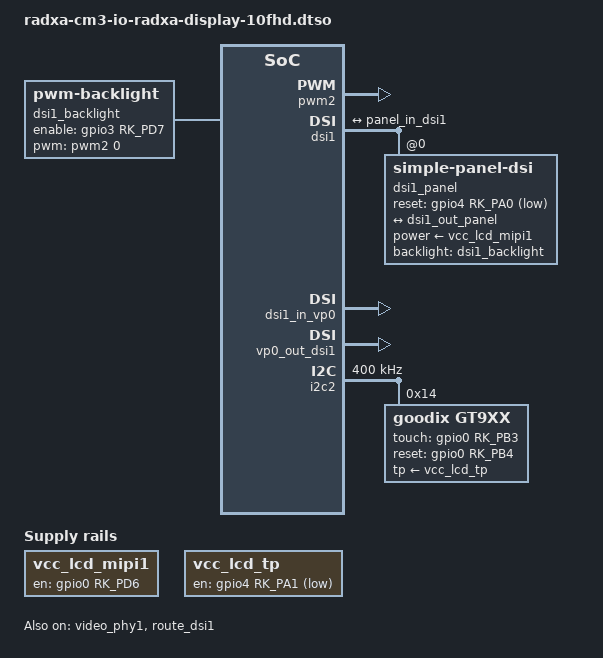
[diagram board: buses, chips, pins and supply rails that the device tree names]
/dts-v1/;
/plugin/;

#include <dt-bindings/gpio/gpio.h>
#include <dt-bindings/pinctrl/rockchip.h>
#include <dt-bindings/interrupt-controller/irq.h>
#include <dt-bindings/display/drm_mipi_dsi.h>
#include "dt-bindings/display/drm_mipi_dsi_overlay.h"
#include <dt-bindings/pwm/pwm.h>

/ {
	metadata {
		title = "Enable Radxa Display 10FHD";
		compatible = "radxa,cm3-io";
		category = "display";
		exclusive = "dsi1", "vp0", "video_phy1", "pwm2";
		description = "Enable Radxa Display 10FHD.";
	};
};

&{/} {
	vcc_lcd_mipi1: vcc-lcd-mipi1 {
		status = "okay";
		compatible = "regulator-fixed";
		regulator-name = "vcc_lcd_mipi1";
		pinctrl-names = "default";
		pinctrl-0 = <&vcc_mipi>;
		gpio = <&gpio0 RK_PD6 GPIO_ACTIVE_HIGH>;
		enable-active-high;
		regulator-always-on;
		regulator-state-mem {
			regulator-off-in-suspend;
		};
	};

	vcc_lcd_tp: vcc-lcd-tp {
		status = "okay";
		compatible = "regulator-fixed";
		regulator-name = "vcc_lcd_tp";
		pinctrl-names = "default";
		pinctrl-0 = <&vcc_tp>;
		gpio = <&gpio4 RK_PA1 GPIO_ACTIVE_LOW>;
		regulator-always-on;
		regulator-state-mem {
			regulator-off-in-suspend;
		};
	};

	dsi1_backlight: dsi1-backlight {
		status = "okay";
		compatible = "pwm-backlight";
		pwms = <&pwm2 0 25000 PWM_POLARITY_INVERTED>;
		brightness-levels = <0 255>;
		num-interpolated-steps = <255>;
		default-brightness-level = <250>;
		enable-gpios = <&gpio3 RK_PD7 GPIO_ACTIVE_HIGH>;
		pinctrl-names = "default";
		pinctrl-0 = <&dsi1_backlight_en>;
	};
};

&pwm2 {
	status = "okay";
};

&dsi1 {
	status = "okay";

	#address-cells = <1>;
	#size-cells = <0>;

	dsi1_panel: panel@0 {
		status = "okay";
		compatible = "simple-panel-dsi";
		reg = <0>;
		backlight = <&dsi1_backlight>;

		power-supply = <&vcc_lcd_mipi1>;
		reset-gpios = <&gpio4 RK_PA0 GPIO_ACTIVE_LOW>;
		pinctrl-names = "default";
		pinctrl-0 = <&dsi1_lcd_rst_gpio>;

		prepare-delay-ms = <120>;
		reset-delay-ms = <120>;
		init-delay-ms = <120>;
		enable-delay-ms = <100>;
		disable-delay-ms = <120>;
		unprepare-delay-ms = <120>;

		width-mm = <135>;
		height-mm = <217>;

		dsi,flags = <(MIPI_DSI_MODE_VIDEO | MIPI_DSI_MODE_VIDEO_BURST |
			MIPI_DSI_MODE_LPM | MIPI_DSI_MODE_EOT_PACKET)>;
		dsi,format = <MIPI_DSI_FMT_RGB888>;
		dsi,lanes = <4>;

		panel-init-sequence = [
			05 78 01 11
			05 00 01 29
		];

		panel-exit-sequence = [
			05 00 01 28
			05 00 01 10
		];

		display_timings0: display-timings {
			native-mode = <&dsi1_timing>;

			dsi1_timing: timing0 {
				clock-frequency = <160000000>;
				hactive = <1200>;
				vactive = <1920>;

				vback-porch = <25>;
				vfront-porch = <35>;

				hback-porch = <60>;
				hfront-porch = <80>;

				hsync-len = <1>;
				vsync-len = <1>;

				vsync-active = <0>;
				hsync-active = <0>;
				de-active = <0>;
				pixelclk-active = <0>;
			};
		};

		ports {
			#address-cells = <1>;
			#size-cells = <0>;

			port@0 {
				reg = <0>;
				panel_in_dsi1: endpoint {
					remote-endpoint = <&dsi1_out_panel>;
				};
			};
		};
	};

	ports {
		#address-cells = <1>;
		#size-cells = <0>;

		port@1 {
			reg = <1>;
			dsi1_out_panel: endpoint {
				remote-endpoint = <&panel_in_dsi1>;
			};
		};
	};
};

&video_phy1 {
	status = "okay";
};

&dsi1_in_vp0 {
	status = "okay";
};

&dsi1_in_vp1 {
	status = "disabled";
};

&vp0_out_dsi1 {
	status = "okay";
};

&vp1_out_dsi1 {
	status = "disabled";
};

&route_dsi1 {
	status = "okay";
	connect = <&vp0_out_dsi1>;
};

&i2c2 {
	status = "okay";
	pinctrl-0 = <&i2c2m1_xfer>;
	clock-frequency = <400000>;
	#address-cells = <1>;
	#size-cells = <0>;

	gt9xx: gt9xx@14 {
		status = "okay";
		compatible = "goodix,gt9xx";
		reg = <0x14>;
		pinctrl-names = "default";
		pinctrl-0 = <&gt9xx_gpio>;
		touch-gpio = <&gpio0 RK_PB3 IRQ_TYPE_LEVEL_HIGH>;
		reset-gpio = <&gpio0 RK_PB4 GPIO_ACTIVE_HIGH>;
		max-x = <1200>;
		max-y = <1920>;
		tp-size = <9271>;
		tp-supply = <&vcc_lcd_tp>;
	};
};

&hdmi {
	status = "disabled";
};

&hdmi_in_vp0 {
	status = "disabled";
};

&hdmi_sound {
	status = "disabled";
};

&route_hdmi {
	status = "disabled";
};

&pinctrl {
	lcd-vcc {
		vcc_mipi: vcc-mipi {
			rockchip,pins = <0 RK_PD6 RK_FUNC_GPIO &pcfg_pull_up>;
		};

		vcc_tp: vcc-tp {
			rockchip,pins = <4 RK_PA1 RK_FUNC_GPIO &pcfg_pull_down>;
		};
	};

	dsi1-lcd {
		dsi1_lcd_rst_gpio: dsi1-lcd-rst-gpio {
			rockchip,pins = <4 RK_PA0 RK_FUNC_GPIO &pcfg_pull_up>;
		};

		dsi1_backlight_en: dsi1-backlight-en {
			rockchip,pins = <3 RK_PD7 RK_FUNC_GPIO &pcfg_pull_up>;
		};
	};

	gt9xx {
		gt9xx_gpio: gt9xx-gpio {
			rockchip,pins =
			<0 RK_PB4 RK_FUNC_GPIO &pcfg_pull_up>,
			<0 RK_PB3 RK_FUNC_GPIO &pcfg_pull_none>;
		};
	};
};
